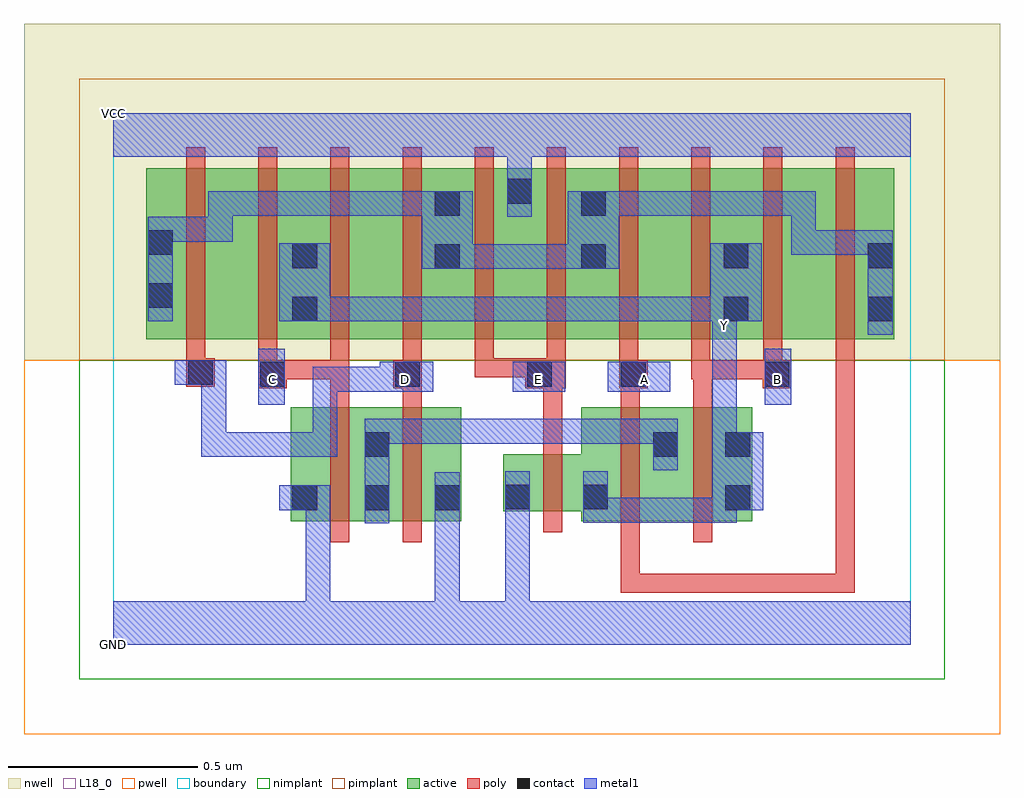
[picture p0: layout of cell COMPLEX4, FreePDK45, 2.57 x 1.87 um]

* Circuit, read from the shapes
.subckt COMPLEX4 A B C D E GND VCC Y
M1 n1 C GND VSUBS nfet w=0.3u l=0.05u
M2 GND D n1 VSUBS nfet w=0.3u l=0.05u
M3 Y E GND VSUBS nfet w=0.15u l=0.05u
M4 n1 A Y VSUBS nfet w=0.3u l=0.05u
M5 Y B n1 VSUBS nfet w=0.3u l=0.05u
M6 n2 D n3 n4 pfet w=0.45u l=0.05u
M7 Y C n2 n4 pfet w=0.45u l=0.05u
M8 n5 C Y n4 pfet w=0.45u l=0.05u
M9 n3 D n5 n4 pfet w=0.45u l=0.05u
M10 VCC E n3 n4 pfet w=0.45u l=0.05u m=2
M11 n6 A n3 n4 pfet w=0.45u l=0.05u
M12 Y B n6 n4 pfet w=0.45u l=0.05u
M13 n7 B Y n4 pfet w=0.45u l=0.05u
M14 n3 A n7 n4 pfet w=0.45u l=0.05u
.ends

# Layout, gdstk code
import gdstk
lib = gdstk.Library(unit=1e-6, precision=1e-09)
def R(c, l, rs):  # rectangles x0, y0, x1, y1
    for r in rs: c.add(gdstk.rectangle(r[:2], r[2:], *l))
def A(c, l, x, y, w, h, nx, ny, dx, dy):  # array of equal rectangles
    R(c, l, [(x+i*dx, y+j*dy, x+i*dx+w, y+j*dy+h) for i in range(nx) for j in range(ny)])
active = (1, 0)
pwell = (2, 0)
nwell = (3, 0)
nimplant = (4, 0)
pimplant = (5, 0)
poly = (9, 0)
contact = (10, 0)
metal1 = (11, 0)
L18_0 = (18, 0)
boundary = (235, 0)

complex4 = lib.new_cell('COMPLEX4')
R(complex4, active, [(0.467,0.325,0.732,0.625), (0.467,0.325,0.542,0.625), (0.657,0.325,0.917,0.625), (0.657,0.325,0.732,0.565), (0.842,0.325,0.917,0.547), (1.232,0.325,1.492,0.625), (1.232,0.325,1.307,0.502), (1.417,0.325,1.682,0.625), (1.607,0.35,1.682,0.625), (1.027,0.352,1.307,0.502), (1.027,0.352,1.102,0.502), (1.417,0.395,1.492,0.565), (0.087,0.805,0.312,1.255), (0.087,0.805,0.192,1.2), (0.312,0.805,0.542,1.255), (0.467,0.805,0.692,1.255), (0.467,0.805,0.542,1.07), (0.692,0.805,0.917,1.255), (0.842,0.805,1.107,1.255), (1.032,0.805,1.302,1.255), (1.227,0.805,1.452,1.255), (1.452,0.805,1.677,1.255), (1.602,0.805,1.832,1.255), (1.602,0.805,1.677,1.07), (1.832,0.805,2.057,1.255), (1.982,0.805,2.057,1.2), (0.842,0.857,0.917,1.2), (1.032,0.857,1.107,1.255), (1.227,0.857,1.302,1.2)])
R(complex4, pwell, [(-0.235,-0.235,2.335,0.75)])
R(complex4, nwell, [(-0.235,0.75,2.335,1.635)])
R(complex4, nimplant, [(-0.09,-0.09,2.19,0.75)])
R(complex4, pimplant, [(-0.09,0.75,2.19,1.49)])
A(complex4, poly, 0.382, 0.7, 0.05, 0.1, 3, 1, 0.19, 0)
A(complex4, poly, 1.332, 0.7, 0.05, 0.1, 3, 1, 0.19, 0)
A(complex4, poly, 0.192, 0.75, 0.05, 0.56, 10, 1, 0.19, 0)
R(complex4, poly, [(1.337,0.137,1.387,0.187), (1.337,0.137,1.387,0.187), (1.337,0.137,1.387,0.187), (1.337,0.137,1.627,0.187), (1.337,0.137,1.387,0.32), (1.577,0.137,1.627,0.187), (1.577,0.137,1.627,0.187), (1.577,0.137,1.627,0.187), (1.577,0.137,1.82,0.187), (1.77,0.137,1.82,0.187), (1.77,0.137,1.82,0.187), (1.77,0.137,1.82,0.187), (1.77,0.137,1.82,0.187), (1.77,0.137,1.82,0.187), (1.77,0.137,1.952,0.187), (1.902,0.137,1.952,0.8), (1.902,0.137,1.952,0.187), (1.902,0.137,1.952,0.187), (1.902,0.137,1.952,0.187), (1.902,0.137,1.952,0.187), (1.902,0.137,1.952,0.187), (1.902,0.137,1.952,0.187), (1.902,0.137,1.952,0.187), (0.572,0.27,0.622,0.68), (0.762,0.27,0.812,0.68), (1.337,0.27,1.387,0.68), (1.527,0.27,1.577,0.68), (1.132,0.297,1.182,0.557), (1.132,0.507,1.182,0.725), (0.572,0.63,0.622,0.75), (0.762,0.63,0.812,0.725), (1.337,0.63,1.387,0.725), (1.527,0.63,1.577,0.75), (0.382,0.675,0.457,0.75), (0.737,0.675,0.812,0.75), (1.085,0.675,1.192,0.755), (1.332,0.675,1.407,0.75), (1.71,0.675,1.785,0.75), (0.192,0.68,0.267,0.755), (0.407,0.7,0.622,0.75), (0.572,0.7,0.622,0.75), (0.572,0.7,0.622,0.75), (0.572,0.7,0.622,0.75), (1.522,0.7,1.577,0.75), (1.527,0.7,1.577,0.75), (1.527,0.7,1.577,0.75), (1.527,0.7,1.76,0.75), (0.192,0.705,0.242,0.8), (0.952,0.705,1.002,0.755), (0.952,0.705,1.002,0.8), (0.952,0.705,1.135,0.755), (1.085,0.705,1.135,0.755), (1.085,0.705,1.135,0.755), (1.142,0.705,1.192,0.8)])
R(complex4, contact, [(0.472,0.355,0.537,0.42), (0.662,0.355,0.727,0.42), (0.847,0.355,0.912,0.42), (1.612,0.355,1.677,0.42), (1.032,0.357,1.097,0.422), (1.237,0.357,1.302,0.422), (0.662,0.495,0.727,0.56), (1.422,0.495,1.487,0.56), (1.612,0.495,1.677,0.56), (0.387,0.68,0.452,0.745), (0.742,0.68,0.807,0.745), (1.09,0.68,1.155,0.745), (1.337,0.68,1.402,0.745), (1.715,0.68,1.78,0.745), (0.197,0.685,0.262,0.75), (0.472,0.852,0.537,0.917), (1.607,0.852,1.672,0.917), (1.987,0.852,2.052,0.917), (0.092,0.887,0.157,0.952), (0.847,0.99,0.912,1.055), (1.232,0.99,1.297,1.055), (0.472,0.992,0.537,1.057), (1.607,0.992,1.672,1.057), (1.987,0.992,2.052,1.057), (0.092,1.027,0.157,1.092), (0.847,1.13,0.912,1.195), (1.232,1.13,1.297,1.195), (1.037,1.162,1.102,1.227)])
R(complex4, metal1, [(0,0,2.1,0.115), (0.507,0.05,0.572,0.42), (0.847,0.05,0.912,0.385), (1.032,0.05,1.097,0.387), (0.662,0.32,0.727,0.595), (0.847,0.32,0.912,0.385), (0.847,0.32,0.912,0.385), (0.847,0.32,0.912,0.385), (0.847,0.32,0.912,0.385), (0.847,0.32,0.912,0.455), (1.032,0.322,1.097,0.387), (1.032,0.322,1.097,0.387), (1.032,0.322,1.097,0.387), (1.032,0.322,1.097,0.387), (1.032,0.322,1.097,0.387), (1.032,0.322,1.097,0.387), (1.032,0.322,1.097,0.457), (1.237,0.322,1.302,0.387), (1.237,0.322,1.302,0.387), (1.237,0.322,1.47,0.387), (1.237,0.322,1.302,0.457), (1.405,0.322,1.47,0.387), (1.405,0.322,1.642,0.387), (1.577,0.322,1.642,0.387), (1.577,0.322,1.642,0.387), (1.577,0.322,1.642,0.387), (1.577,0.322,1.642,0.42), (0.437,0.355,0.572,0.42), (0.507,0.355,0.572,0.42), (0.507,0.355,0.572,0.42), (0.507,0.355,0.572,0.42), (0.507,0.355,0.572,0.42), (1.577,0.355,1.712,0.56), (1.422,0.46,1.487,0.595), (0.232,0.495,0.297,0.56), (0.232,0.495,0.452,0.56), (0.232,0.495,0.297,0.75), (0.387,0.495,0.452,0.56), (0.387,0.495,0.59,0.56), (0.525,0.495,0.59,0.56), (0.525,0.495,0.59,0.732), (1.577,0.495,1.642,0.837), (0.662,0.53,0.727,0.595), (0.662,0.53,0.727,0.595), (0.662,0.53,0.947,0.595), (0.882,0.53,0.947,0.595), (0.882,0.53,0.947,0.595), (0.882,0.53,0.947,0.595), (0.882,0.53,1.085,0.595), (1.02,0.53,1.085,0.595), (1.02,0.53,1.085,0.595), (1.02,0.53,1.085,0.595), (1.02,0.53,1.235,0.595), (1.17,0.53,1.235,0.595), (1.17,0.53,1.235,0.595), (1.17,0.53,1.235,0.595), (1.17,0.53,1.487,0.595), (0.382,0.632,0.452,0.78), (1.715,0.632,1.785,0.78), (0.525,0.667,0.59,0.732), (0.525,0.667,0.59,0.732), (0.525,0.667,0.59,0.732), (0.525,0.667,0.727,0.732), (0.662,0.667,0.727,0.732), (0.662,0.667,0.767,0.732), (0.702,0.667,0.842,0.745), (1.052,0.667,1.19,0.745), (1.302,0.667,1.467,0.745), (0.162,0.685,0.297,0.75), (0.232,0.685,0.297,0.75), (0.232,0.685,0.297,0.75), (1.577,0.772,1.642,0.917), (1.987,0.817,2.052,1.092), (0.092,0.852,0.157,1.127), (0.437,0.852,0.572,1.057), (0.507,0.852,0.59,0.917), (0.525,0.852,0.59,0.917), (0.525,0.852,0.727,0.917), (0.662,0.852,0.727,0.917), (0.662,0.852,0.81,0.917), (0.745,0.852,0.81,0.917), (0.745,0.852,0.947,0.917), (0.882,0.852,0.947,0.917), (0.882,0.852,0.947,0.917), (0.882,0.852,0.947,0.917), (0.882,0.852,1.085,0.917), (1.02,0.852,1.085,0.917), (1.02,0.852,1.085,0.917), (1.02,0.852,1.085,0.917), (1.02,0.852,1.332,0.917), (1.267,0.852,1.332,0.917), (1.267,0.852,1.332,0.917), (1.267,0.852,1.332,0.917), (1.267,0.852,1.5,0.917), (1.435,0.852,1.5,0.917), (1.435,0.852,1.637,0.917), (1.572,0.852,1.637,0.917), (1.572,0.852,1.637,0.917), (1.572,0.852,1.707,1.057), (1.577,0.852,1.642,0.917), (0.812,0.99,0.947,1.195), (0.882,0.99,0.947,1.055), (0.882,0.99,0.947,1.055), (0.882,0.99,1.085,1.055), (1.02,0.99,1.085,1.055), (1.02,0.99,1.085,1.055), (1.02,0.99,1.085,1.055), (1.02,0.99,1.262,1.055), (1.197,0.99,1.332,1.195), (1.785,1.027,1.85,1.092), (1.785,1.027,2.052,1.092), (1.785,1.027,1.85,1.195), (1.987,1.027,2.052,1.092), (1.987,1.027,2.052,1.092), (0.092,1.062,0.157,1.127), (0.092,1.062,0.157,1.127), (0.092,1.062,0.315,1.127), (0.25,1.062,0.315,1.127), (0.25,1.062,0.315,1.195), (1.037,1.127,1.102,1.262), (0.25,1.13,0.315,1.195), (0.25,1.13,0.452,1.195), (0.387,1.13,0.452,1.195), (0.387,1.13,0.452,1.195), (0.387,1.13,0.452,1.195), (0.387,1.13,0.59,1.195), (0.525,1.13,0.59,1.195), (0.525,1.13,0.727,1.195), (0.662,1.13,0.727,1.195), (0.662,1.13,0.727,1.195), (0.662,1.13,0.727,1.195), (0.662,1.13,0.877,1.195), (1.267,1.13,1.47,1.195), (1.405,1.13,1.47,1.195), (1.405,1.13,1.47,1.195), (1.405,1.13,1.47,1.195), (1.405,1.13,1.637,1.195), (1.572,1.13,1.637,1.195), (1.572,1.13,1.637,1.195), (1.572,1.13,1.637,1.195), (1.572,1.13,1.85,1.195), (1.785,1.13,1.85,1.195), (1.785,1.13,1.85,1.195), (1.785,1.13,1.85,1.195), (1.037,1.197,1.102,1.35), (0,1.285,2.1,1.4)])
R(complex4, L18_0, [(0,0,2.1,0.115), (0.507,0.05,0.572,0.42), (0.847,0.05,0.912,0.385), (1.032,0.05,1.097,0.387), (0.847,0.32,0.912,0.385), (0.847,0.32,0.912,0.385), (0.847,0.32,0.912,0.385), (0.847,0.32,0.912,0.385), (0.847,0.32,0.912,0.455), (1.032,0.322,1.097,0.387), (1.032,0.322,1.097,0.387), (1.032,0.322,1.097,0.387), (1.032,0.322,1.097,0.387), (1.032,0.322,1.097,0.387), (1.032,0.322,1.097,0.387), (1.032,0.322,1.097,0.457), (1.237,0.322,1.302,0.387), (1.237,0.322,1.302,0.387), (1.237,0.322,1.302,0.457), (1.237,0.322,1.47,0.387), (1.405,0.322,1.47,0.387), (1.405,0.322,1.642,0.387), (1.577,0.322,1.642,0.387), (1.577,0.322,1.642,0.387), (1.577,0.322,1.642,0.387), (1.577,0.322,1.642,0.42), (0.437,0.355,0.572,0.42), (0.507,0.355,0.572,0.42), (0.507,0.355,0.572,0.42), (0.507,0.355,0.572,0.42), (0.507,0.355,0.572,0.42), (1.577,0.355,1.712,0.56), (0.232,0.495,0.297,0.56), (0.232,0.495,0.297,0.75), (0.232,0.495,0.452,0.56), (0.387,0.495,0.452,0.56), (0.387,0.495,0.59,0.56), (0.525,0.495,0.59,0.56), (0.525,0.495,0.59,0.732), (1.577,0.495,1.642,0.837), (0.382,0.632,0.452,0.78), (1.715,0.632,1.785,0.78), (0.387,0.667,0.452,0.732), (0.525,0.667,0.59,0.732), (0.525,0.667,0.59,0.732), (0.525,0.667,0.59,0.732), (0.525,0.667,0.727,0.732), (0.662,0.667,0.727,0.732), (0.662,0.667,0.767,0.732), (0.702,0.667,0.842,0.745), (0.737,0.667,0.802,0.732), (1.052,0.667,1.19,0.745), (1.087,0.667,1.152,0.732), (1.302,0.667,1.467,0.745), (1.367,0.667,1.432,0.732), (1.717,0.667,1.782,0.732), (0.162,0.685,0.297,0.75), (0.232,0.685,0.297,0.75), (0.232,0.685,0.297,0.75), (1.577,0.772,1.642,0.917), (1.577,0.807,1.642,0.872), (0.437,0.852,0.572,1.057), (0.507,0.852,0.59,0.917), (0.525,0.852,0.59,0.917), (0.525,0.852,0.727,0.917), (0.662,0.852,0.727,0.917), (0.662,0.852,0.81,0.917), (0.745,0.852,0.81,0.917), (0.745,0.852,0.947,0.917), (0.882,0.852,0.947,0.917), (0.882,0.852,0.947,0.917), (0.882,0.852,0.947,0.917), (0.882,0.852,1.085,0.917), (1.02,0.852,1.085,0.917), (1.02,0.852,1.085,0.917), (1.02,0.852,1.085,0.917), (1.02,0.852,1.332,0.917), (1.267,0.852,1.332,0.917), (1.267,0.852,1.332,0.917), (1.267,0.852,1.332,0.917), (1.267,0.852,1.5,0.917), (1.435,0.852,1.5,0.917), (1.435,0.852,1.637,0.917), (1.572,0.852,1.637,0.917), (1.572,0.852,1.637,0.917), (1.572,0.852,1.707,1.057), (1.577,0.852,1.642,0.917), (1.037,1.127,1.102,1.262), (1.037,1.197,1.102,1.35), (0,1.285,2.1,1.4)])
R(complex4, boundary, [(0,0,2.1,1.4)])
complex4.add(gdstk.Label('A', (1.4,0.7), layer=11, texttype=0))
complex4.add(gdstk.Label('B', (1.75,0.7), layer=11, texttype=0))
complex4.add(gdstk.Label('C', (0.42,0.7), layer=11, texttype=0))
complex4.add(gdstk.Label('D', (0.77,0.7), layer=11, texttype=0))
complex4.add(gdstk.Label('E', (1.12,0.7), layer=11, texttype=0))
complex4.add(gdstk.Label('Y', (1.61,0.84), layer=11, texttype=0))
complex4.add(gdstk.Label('VCC', (0,1.4), layer=11, texttype=0))
complex4.add(gdstk.Label('GND', (0,0), layer=11, texttype=0))

lib.write_gds('COMPLEX4.gds')
